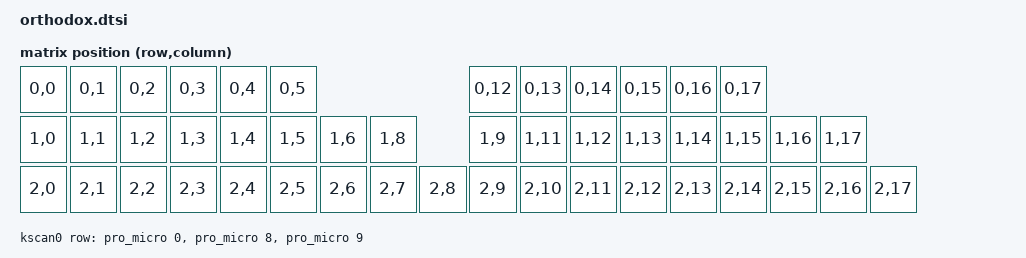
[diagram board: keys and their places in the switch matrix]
/*
 * Copyright (c) 2020 The ZMK Contributors
 *
 * SPDX-License-Identifier: MIT
 */

#include <dt-bindings/zmk/matrix_transform.h>

/ {
    chosen {
        zmk,kscan = &kscan0;
        zmk,matrix_transform = &default_transform;
    };

    default_transform: keymap_transform_0 {
        compatible = "zmk,matrix-transform";
        columns = <18>;
        rows = <3>;
// | SW0  | SW1  | SW2  | SW3  | SW4  | SW5  |                                                | SW5  | SW4  | SW3  | SW2  | SW1  | SW0  |
// | SW9  | SW10 | SW11 | SW12 | SW13 | SW14 | SW15 | SW17 |                    | SW17 | SW15 | SW14 | SW13 | SW12 | SW11 | SW10 | SW9  |
// | SW18 | SW19 | SW20 | SW21 | SW22 | SW23 | SW24 | SW25 | SW26 |      | SW26 | SW25 | SW24 | SW23 | SW22 | SW21 | SW20 | SW19 | SW18 |
//                            
        map = <
            RC(0,0) RC(0,1) RC(0,2) RC(0,3) RC(0,4) RC(0,5)                           RC(0,12) RC(0,13) RC(0,14) RC(0,15) RC(0,16) RC(0,17) 
            RC(1,0) RC(1,1) RC(1,2) RC(1,3) RC(1,4) RC(1,5) RC(1,6) RC(1,8)           RC(1,9) RC(1,11) RC(1,12) RC(1,13) RC(1,14) RC(1,15) RC(1,16) RC(1,17)
            RC(2,0) RC(2,1) RC(2,2) RC(2,3) RC(2,4) RC(2,5) RC(2,6) RC(2,7) RC(2,8)   RC(2,9) RC(2,10) RC(2,11) RC(2,12) RC(2,13) RC(2,14) RC(2,15) RC(2,16) RC(2,17)
        >;
    };

    kscan0: kscan {
        compatible = "zmk,kscan-gpio-matrix";
        label = "KSCAN";

        diode-direction = "col2row";
        row-gpios
            = <&pro_micro 0 (GPIO_ACTIVE_HIGH | GPIO_PULL_DOWN)>
            , <&pro_micro 8 (GPIO_ACTIVE_HIGH | GPIO_PULL_DOWN)>
            , <&pro_micro 9 (GPIO_ACTIVE_HIGH | GPIO_PULL_DOWN)>
            ;

    };
};
